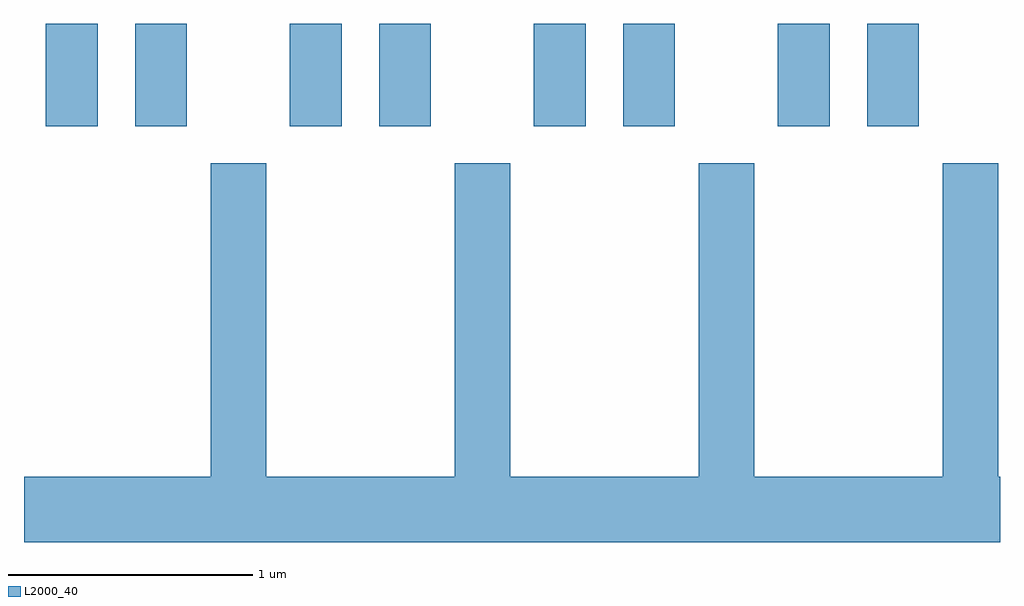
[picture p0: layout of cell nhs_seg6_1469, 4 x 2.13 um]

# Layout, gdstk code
import gdstk
lib = gdstk.Library(unit=1e-6, precision=1e-09)
def R(c, l, rs):  # rectangles x0, y0, x1, y1
    for r in rs: c.add(gdstk.rectangle(r[:2], r[2:], *l))
def P(c, l, *ps):  # polygons
    for p in ps: c.add(gdstk.Polygon(p, *l))
L2000_40 = (2000, 40)

nhs_seg6_1469 = lib.new_cell('nhs_seg6_1469')
R(nhs_seg6_1469, L2000_40, [(229.701,1551.741,229.914,1552.162), (230.066,1551.741,230.279,1552.162), (230.701,1551.741,230.914,1552.162), (231.066,1551.741,231.279,1552.162), (231.701,1551.741,231.914,1552.162), (232.066,1551.741,232.279,1552.162), (232.701,1551.741,232.914,1552.162), (233.066,1551.741,233.279,1552.162)])
P(nhs_seg6_1469, L2000_40, [(233.611,1550.304),(233.604,1550.304),(233.604,1551.589),(233.376,1551.589),(233.376,1550.304),(232.604,1550.304),(232.604,1551.589),(232.376,1551.589),(232.376,1550.304),(231.604,1550.304),(231.604,1551.589),(231.376,1551.589),(231.376,1550.304),(230.604,1550.304),(230.604,1551.589),(230.376,1551.589),(230.376,1550.304),(229.611,1550.304),(229.611,1550.036),(233.611,1550.036)])

lib.write_gds('nhs_seg6_1469.gds')
